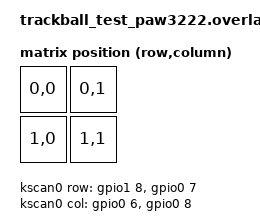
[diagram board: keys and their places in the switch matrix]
/*
 * 机上試験用：Feather nRF52840 Express ＋ タクトスイッチ4個（2行×2列）＋ PAW3222 モジュール（のぎけす屋、sekigon-gonnoc/small-mouse-sensor-module）
 * キーとセンサーの配線は trackball_test（PMW3610）と同じピン。モジュールのピン：1＝3.3V、2＝CS、3＝MOTION、4＝SDIO、5＝SCLK、6＝GND
 */

#include <dt-bindings/zmk/matrix_transform.h>
#include <zephyr/dt-bindings/input/input-event-codes.h>
#include <input/processors.dtsi>
#include "trackball_test_paw3222-layouts.dtsi"

/ {
    chosen {
        zmk,kscan = &kscan0;
        zmk,physical-layout = &trackball_test_paw3222_physical_layout;
    };

    // キー：ダイオードなしの 2×2 マトリクス。列に電圧を出し、行で読む
    kscan0: kscan0 {
        compatible = "zmk,kscan-gpio-matrix";
        diode-direction = "col2row";
        wakeup-source;

        col-gpios
            = <&gpio0 6 GPIO_ACTIVE_HIGH>    // 列0：D11 = P0.06
            , <&gpio0 8 GPIO_ACTIVE_HIGH>    // 列1：D12 = P0.08
            ;

        row-gpios
            = <&gpio1 8 (GPIO_ACTIVE_HIGH | GPIO_PULL_DOWN)>   // 行0：D5 = P1.08
            , <&gpio0 7 (GPIO_ACTIVE_HIGH | GPIO_PULL_DOWN)>   // 行1：D6 = P0.07
            ;
    };

    default_transform: keymap_transform0 {
        compatible = "zmk,matrix-transform";
        columns = <2>;
        rows = <2>;
        map = <
        //   SW1     SW2
            RC(0,0) RC(0,1)
        //   SW3     SW4
            RC(1,0) RC(1,1)
        >;
    };

    trackball_listener {
        compatible = "zmk,input-listener";
        device = <&trackball>;
    };
};

// PAW3222：3線式 SPI（SDIO 1本で送受信するので、MOSI と MISO に同じピンを割り当てる。torabo-tsuki-lp と同じ書き方）
&pinctrl {
    spi0_default: spi0_default {
        group1 {
            psels = <NRF_PSEL(SPIM_SCK, 0, 14)>,    // SCLK：SCK = P0.14
                    <NRF_PSEL(SPIM_MOSI, 0, 13)>,   // SDIO：MO = P0.13
                    <NRF_PSEL(SPIM_MISO, 0, 13)>;   // SDIO：MO = P0.13
        };
    };

    spi0_sleep: spi0_sleep {
        group1 {
            psels = <NRF_PSEL(SPIM_SCK, 0, 14)>,
                    <NRF_PSEL(SPIM_MOSI, 0, 13)>,
                    <NRF_PSEL(SPIM_MISO, 0, 13)>;
            low-power-enable;
        };
    };
};

&spi0 {
    status = "okay";
    compatible = "nordic,nrf-spim";
    pinctrl-0 = <&spi0_default>;
    pinctrl-1 = <&spi0_sleep>;
    pinctrl-names = "default", "sleep";
    cs-gpios = <&gpio0 27 GPIO_ACTIVE_LOW>;    // CS：D10 = P0.27

    // power-gpios（センサーの電源を切るピン）は使わない。モジュールの 3.3V は Feather の 3V に直結
    trackball: trackball@0 {
        status = "okay";
        compatible = "pixart,paw3222";
        reg = <0>;
        spi-max-frequency = <2000000>;
        irq-gpios = <&gpio0 26 (GPIO_ACTIVE_LOW | GPIO_PULL_UP)>;   // MOTION：D9 = P0.26
        res-cpi = <608>;    // 608〜4826、38 刻み。PMW3610 の試験の 600 に近い値
    };
};
